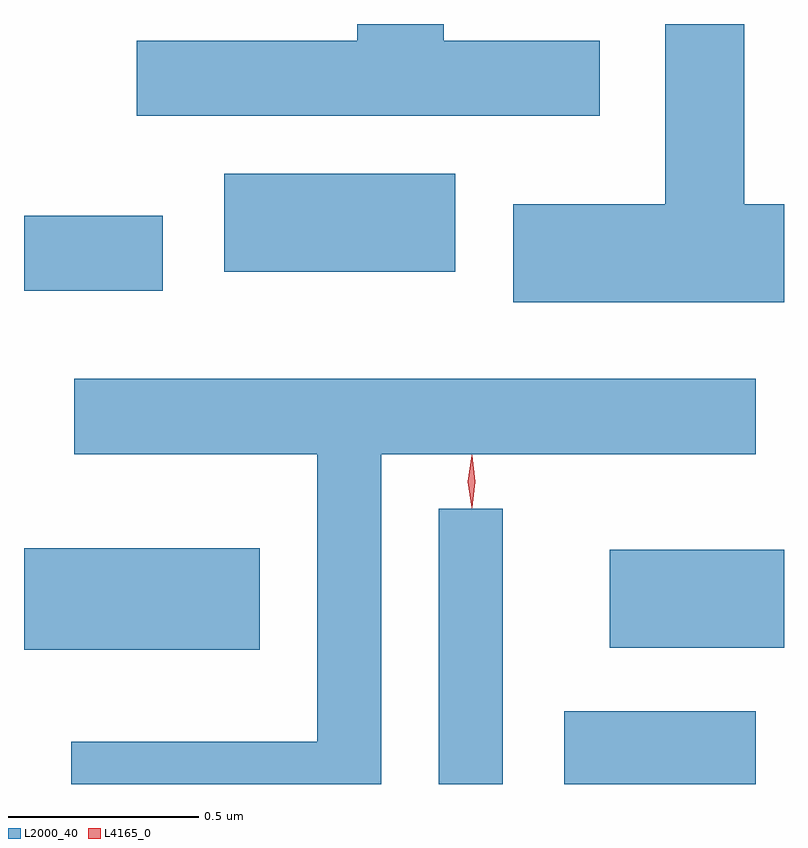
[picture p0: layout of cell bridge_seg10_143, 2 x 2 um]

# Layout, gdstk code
import gdstk
lib = gdstk.Library(unit=1e-6, precision=1e-09)
def R(c, l, rs):  # rectangles x0, y0, x1, y1
    for r in rs: c.add(gdstk.rectangle(r[:2], r[2:], *l))
def P(c, l, *ps):  # polygons
    for p in ps: c.add(gdstk.Polygon(p, *l))
L2000_40 = (2000, 40)
L4165_0 = (4165, 0)

bridge_seg10_143 = lib.new_cell('bridge_seg10_143')
R(bridge_seg10_143, L2000_40, [(1681.081,2141.448,1681.249,2142.173), (1681.411,2141.448,1681.914,2141.639), (1679.989,2141.801,1680.609,2142.069), (1681.531,2141.806,1681.989,2142.064), (1679.989,2142.746,1680.354,2142.944), (1680.516,2142.796,1681.124,2143.054)])
P(bridge_seg10_143, L2000_40, [(1681.989,2142.974),(1681.884,2142.974),(1681.884,2143.448),(1681.676,2143.448),(1681.676,2142.974),(1681.276,2142.974),(1681.276,2142.716),(1681.989,2142.716)],
  [(1681.504,2143.404),(1681.094,2143.404),(1681.094,2143.448),(1680.866,2143.448),(1680.866,2143.404),(1680.286,2143.404),(1680.286,2143.206),(1681.504,2143.206)],
  [(1680.929,2142.316),(1681.914,2142.316),(1681.914,2142.514),(1680.121,2142.514),(1680.121,2142.316),(1680.761,2142.316),(1680.761,2141.559),(1680.113,2141.559),(1680.113,2141.448),(1680.929,2141.448)])
P(bridge_seg10_143, L4165_0, [(1681.167,2142.178),(1681.167,2142.178),(1681.157,2142.244),(1681.167,2142.311),(1681.167,2142.311),(1681.168,2142.311),(1681.177,2142.244),(1681.168,2142.178)],
  [(1681.167,2142.174),(1681.167,2142.175),(1681.157,2142.244),(1681.167,2142.313),(1681.167,2142.314),(1681.168,2142.313),(1681.177,2142.244),(1681.168,2142.175)])

lib.write_gds('bridge_seg10_143.gds')
